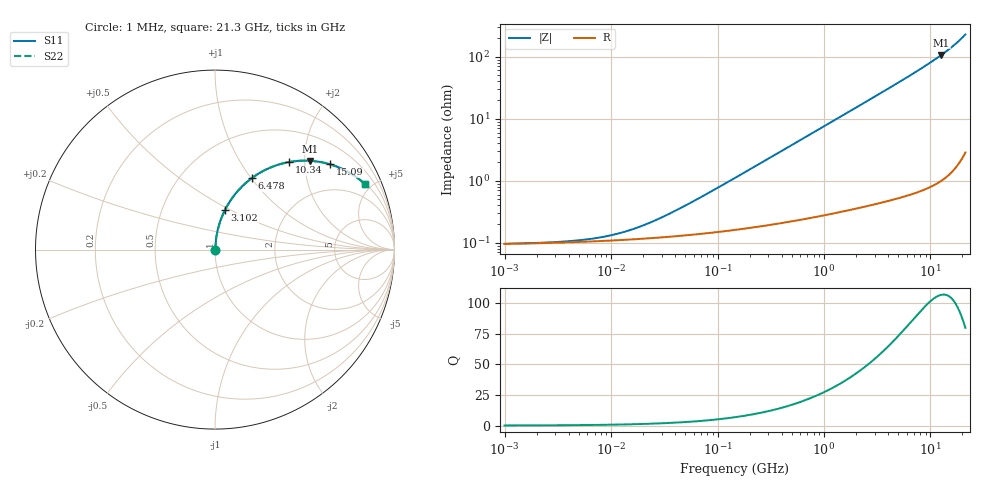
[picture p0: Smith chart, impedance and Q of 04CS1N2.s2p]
# MHz  S  MA  R  50
!Freq  MagS11  AngS11  MagS21  AngS21  MagS12  AngS12  MagS22  AngS22
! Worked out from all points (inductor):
!   1003 points, 1 MHz to 21.3 GHz, reference 50 ohm
!   read as one part in series: L = 1.2 nH near 52.99 MHz
!   highest Q = 107 at 12.62 GHz (marker M1), where L = 1.34 nH
!   S11 on the Smith chart (normalised r, x): 1 MHz: 1.00, +0.00; 3.102 GHz: 1.01, +0.47; 6.478 GHz: 1.01, +1.00; 10.34 GHz: 1.02, +1.68; 15.09 GHz: 1.03, +2.67; 21.3 GHz: 1.06, +4.57
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1  0.000961 4.5  0.999 -0.0  0.999 -0.0  0.000961 4.5
2.651518  0.001015 11.3  0.999 -0.0  0.999 -0.0  0.001015 11.3
5.268287  0.001108 21.0  0.999 -0.0  0.999 -0.0  0.001108 21.0
8.243872  0.001236 30.1  0.9989 -0.0  0.9989 -0.0  0.001236 30.1
12.39674  0.001448 40.1  0.9989 -0.1  0.9989 -0.1  0.001448 40.1
18.27432  0.001794 50.0  0.9988 -0.1  0.9988 -0.1  0.001794 50.0
27.75485  0.002415 59.8  0.9988 -0.1  0.9988 -0.1  0.002415 59.8
54.05936  0.004283 71.6  0.9987 -0.2  0.9987 -0.2  0.004283 71.6
146.2205  0.01112 81.0  0.9983 -0.6  0.9983 -0.6  0.01112 81.0
376.3039  0.02838 84.3  0.9976 -1.6  0.9976 -1.6  0.02838 84.3
770.3316  0.05792 84.2  0.9958 -3.3  0.9958 -3.3  0.05792 84.2
1640.975  0.1226 81.4  0.9892 -7.0  0.9892 -7.0  0.1226 81.4
3102.202  0.2282 75.8  0.9695 -13.2  0.9695 -13.2  0.2282 75.8
4058.328  0.2943 72.0  0.9512 -17.1  0.9512 -17.1  0.2943 72.0
5152.999  0.366 67.8  0.9257 -21.5  0.9257 -21.5  0.366 67.8
6478.16  0.4467 62.8  0.8894 -26.5  0.8894 -26.5  0.4467 62.8
8144.103  0.5376 56.9  0.8375 -32.5  0.8375 -32.5  0.5376 56.9
10340.85  0.6394 49.7  0.7627 -39.7  0.7627 -39.7  0.6394 49.7
12617.8  0.7246 43.0  0.6824 -46.4  0.6824 -46.4  0.7246 43.0
15092.75  0.7972 36.6  0.5962 -52.9  0.5962 -52.9  0.7972 36.6
17522.22  0.8518 31.0  0.5153 -58.4  0.5153 -58.4  0.8518 31.0
21300  0.9118 23.5  0.3994 -65.7  0.3994 -65.7  0.9118 23.5
